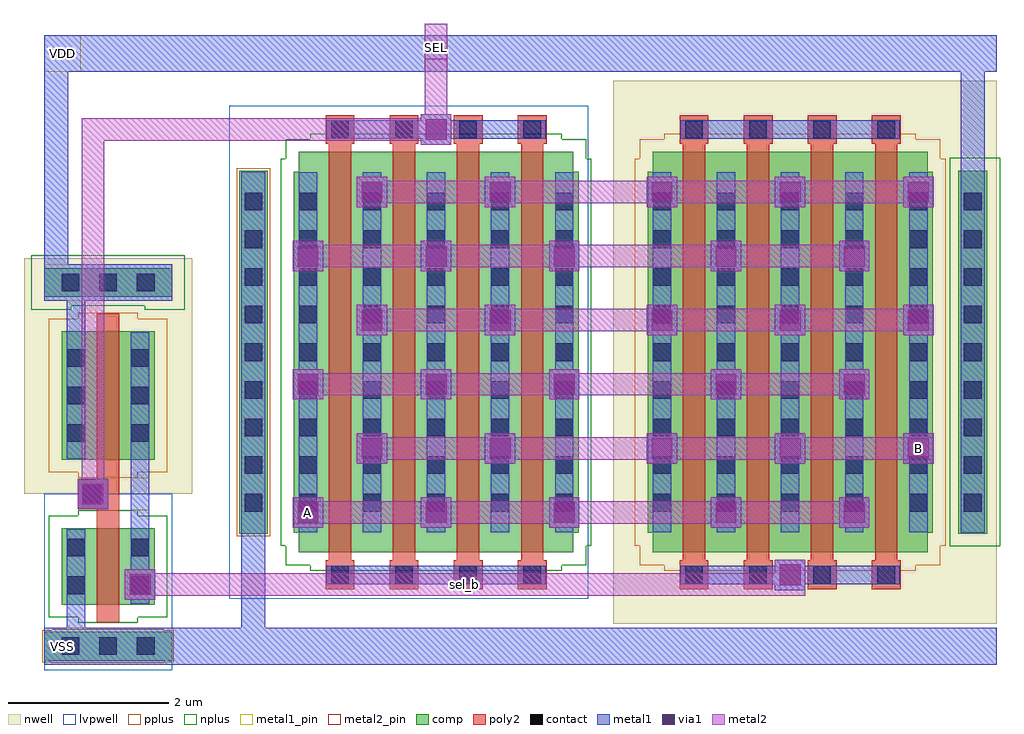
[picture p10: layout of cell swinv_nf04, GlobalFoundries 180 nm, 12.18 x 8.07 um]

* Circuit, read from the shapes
.subckt swinv_nf04 A B SEL VDD VSS sel_b
XM1 sel_b SEL VSS VSS nfet_03v3 w=0.95u l=0.28u
XM2 B SEL A VSS nfet_03v3 w=5u l=0.28u m=4
XM3 sel_b SEL VDD VDD pfet_03v3 w=1.6u l=0.28u
XM4 A sel_b B VDD pfet_03v3 w=5u l=0.28u m=4
.ends

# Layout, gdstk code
import gdstk
lib = gdstk.Library(unit=1e-6, precision=1e-09)
def R(c, l, rs):  # rectangles x0, y0, x1, y1
    for r in rs: c.add(gdstk.rectangle(r[:2], r[2:], *l))
def A(c, l, x, y, w, h, nx, ny, dx, dy):  # array of equal rectangles
    R(c, l, [(x+i*dx, y+j*dy, x+i*dx+w, y+j*dy+h) for i in range(nx) for j in range(ny)])
nwell = (21, 0)
comp = (22, 0)
poly2 = (30, 0)
pplus = (31, 0)
nplus = (32, 0)
contact = (33, 0)
metal1 = (34, 0)
metal1_pin = (34, 10)
via1 = (35, 0)
metal2 = (36, 0)
metal2_pin = (36, 10)
lvpwell = (204, 0)

logic_inverter_1x = lib.new_cell('logic_inverter_1x')
R(logic_inverter_1x, nwell, [(-0.25,2.13,1.85,5.07)])
R(logic_inverter_1x, comp, [(0,0.05,1.6,0.41), (0.22,0.75,1.38,1.7), (0.22,2.56,1.38,4.16), (0,4.59,1.6,4.95)])
R(logic_inverter_1x, poly2, [(0.66,0.53,0.94,1.95), (0.42,1.95,0.94,2.31), (0.66,2.31,0.94,4.38)])
R(logic_inverter_1x, pplus, [(0.105,0.02,1.495,0.03), (-0.02,0.03,1.62,0.43), (0.105,0.43,1.495,0.44), (0.43,2.33,1.17,2.4), (0.06,2.4,1.54,4.32), (0.43,4.32,1.17,4.39)])
R(logic_inverter_1x, nplus, [(0.43,0.52,1.17,0.59), (0.06,0.59,1.54,1.86), (0.43,1.86,1.17,1.93), (-0.16,4.43,0.34,4.48), (1.26,4.43,1.76,4.48), (-0.16,4.48,1.76,5.11)])
A(logic_inverter_1x, contact, 0.22, 0.12, 0.22, 0.22, 3, 2, 0.47, 4.54)
A(logic_inverter_1x, contact, 0.29, 2.78, 0.22, 0.22, 1, 3, 0, 0.47)
A(logic_inverter_1x, contact, 1.09, 2.78, 0.22, 0.22, 1, 3, 0, 0.47)
R(logic_inverter_1x, contact, [(0.29,0.88,0.51,1.1), (1.09,0.88,1.31,1.1), (0.29,1.35,0.51,1.57), (1.09,1.35,1.31,1.57), (0.49,2.02,0.71,2.24)])
R(logic_inverter_1x, metal1, [(0,0,1.6,0.46), (0.285,0.46,0.515,1.69), (1.085,0.76,1.315,4.15), (0.42,1.94,0.8,2.32), (0.285,2.57,0.515,4.54), (0,4.54,1.6,5)])
R(logic_inverter_1x, metal1_pin, [(0,0,1.6,0.46), (1.085,1.93,1.315,2.33), (0.42,1.94,0.8,2.32), (0,4.54,1.6,5)])
R(logic_inverter_1x, lvpwell, [(0,-0.07,1.6,2.13)])
logic_inverter_1x.add(gdstk.Label('VSS', (0.8,0.23), layer=34, texttype=10))
logic_inverter_1x.add(gdstk.Label('VDD', (0.8,4.77), layer=34, texttype=10))
logic_inverter_1x.add(gdstk.Label('OUT', (1.2,2.13), layer=34, texttype=10))
logic_inverter_1x.add(gdstk.Label('IN', (0.61,2.13), layer=34, texttype=10))

nfet_03v3_smxl9c = lib.new_cell('nfet_03v3_SMXL9C')
R(nfet_03v3_smxl9c, comp, [(-1.715,-2.5,1.715,-2.255), (-1.78,-2.255,1.78,2.255), (-1.715,2.255,1.715,2.5)])
A(nfet_03v3_smxl9c, poly2, -1.38, -2.96, 0.36, 0.36, 4, 2, 0.8, 5.56)
A(nfet_03v3_smxl9c, poly2, -1.34, -2.6, 0.28, 5.2, 4, 1, 0.8, 0)
R(nfet_03v3_smxl9c, nplus, [(-1.57,-2.73,1.57,-2.66), (-1.875,-2.66,1.875,-2.415), (-1.94,-2.415,1.94,2.415), (-1.875,2.415,1.875,2.66), (-1.57,2.66,1.57,2.73)])
A(nfet_03v3_smxl9c, contact, -1.31, -2.89, 0.22, 0.22, 4, 2, 0.8, 5.56)
A(nfet_03v3_smxl9c, contact, -1.71, -1.99, 0.22, 0.22, 5, 9, 0.8, 0.47)
A(nfet_03v3_smxl9c, metal1, -1.37, -2.895, 0.34, 0.23, 4, 2, 0.8, 5.56)
A(nfet_03v3_smxl9c, metal1, -1.715, -2.245, 0.23, 4.49, 5, 1, 0.8, 0)
R(nfet_03v3_smxl9c, lvpwell, [(-1.9,-3.08,1.9,3.08)])

pfet_03v3_eeer62 = lib.new_cell('pfet_03v3_EEER62')
R(pfet_03v3_eeer62, nwell, [(-2.21,-3.39,2.21,3.39)])
R(pfet_03v3_eeer62, comp, [(-1.715,-2.5,1.715,-2.255), (-1.78,-2.255,1.78,2.255), (-1.715,2.255,1.715,2.5)])
A(pfet_03v3_eeer62, poly2, -1.38, -2.96, 0.36, 0.36, 4, 2, 0.8, 5.56)
A(pfet_03v3_eeer62, poly2, -1.34, -2.6, 0.28, 5.2, 4, 1, 0.8, 0)
R(pfet_03v3_eeer62, pplus, [(-1.57,-2.73,1.57,-2.66), (-1.875,-2.66,1.875,-2.415), (-1.94,-2.415,1.94,2.415), (-1.875,2.415,1.875,2.66), (-1.57,2.66,1.57,2.73)])
A(pfet_03v3_eeer62, contact, -1.31, -2.89, 0.22, 0.22, 4, 2, 0.8, 5.56)
A(pfet_03v3_eeer62, contact, -1.71, -1.99, 0.22, 0.22, 5, 9, 0.8, 0.47)
A(pfet_03v3_eeer62, metal1, -1.37, -2.895, 0.34, 0.23, 4, 2, 0.8, 5.56)
A(pfet_03v3_eeer62, metal1, -1.715, -2.245, 0.23, 4.49, 5, 1, 0.8, 0)

switch_tg_analog_nf04 = lib.new_cell('switch_tg_analog_nf04')
R(switch_tg_analog_nf04, nwell, [(4.905,-3.39,9.695,3.39)])
R(switch_tg_analog_nf04, comp, [(0.235,-2.265,0.595,2.265), (9.215,-2.265,9.575,2.265)])
R(switch_tg_analog_nf04, pplus, [(0.205,-2.295,0.625,2.295)])
R(switch_tg_analog_nf04, nplus, [(9.105,-2.425,9.735,2.425)])
A(switch_tg_analog_nf04, contact, 0.305, -1.99, 0.22, 0.22, 1, 9, 0, 0.47)
A(switch_tg_analog_nf04, contact, 9.285, -1.99, 0.22, 0.22, 1, 9, 0, 0.47)
A(switch_tg_analog_nf04, metal1, 0.905, -2.19, 0.38, 0.38, 3, 3, 1.6, 1.6)
A(switch_tg_analog_nf04, metal1, 6.125, -2.19, 0.38, 0.38, 1, 3, 0, 1.6)
A(switch_tg_analog_nf04, metal1, 7.725, -2.19, 0.38, 0.38, 1, 3, 0, 1.6)
A(switch_tg_analog_nf04, metal1, 1.705, -1.39, 0.38, 0.38, 1, 3, 0, 1.6)
A(switch_tg_analog_nf04, metal1, 3.305, -1.39, 0.38, 0.38, 1, 3, 0, 1.6)
A(switch_tg_analog_nf04, metal1, 5.325, -1.39, 0.38, 0.38, 3, 3, 1.6, 1.6)
R(switch_tg_analog_nf04, metal1, [(1.325,-2.895,4.065,-2.665), (5.745,-2.895,8.485,-2.665), (0.265,-2.255,0.565,2.255), (9.245,-2.255,9.545,2.255), (1.325,2.665,4.065,2.895), (5.745,2.665,8.485,2.895)])
R(switch_tg_analog_nf04, metal1_pin, [(0.265,-0.5,0.565,0.5), (9.245,-0.5,9.545,0.5), (1.325,2.665,4.065,2.895), (5.745,2.665,8.485,2.895)])
A(switch_tg_analog_nf04, via1, 0.965, -2.13, 0.26, 0.26, 3, 3, 1.6, 1.6)
A(switch_tg_analog_nf04, via1, 6.185, -2.13, 0.26, 0.26, 1, 3, 0, 1.6)
A(switch_tg_analog_nf04, via1, 7.785, -2.13, 0.26, 0.26, 1, 3, 0, 1.6)
A(switch_tg_analog_nf04, via1, 1.765, -1.33, 0.26, 0.26, 1, 3, 0, 1.6)
A(switch_tg_analog_nf04, via1, 3.365, -1.33, 0.26, 0.26, 1, 3, 0, 1.6)
A(switch_tg_analog_nf04, via1, 5.385, -1.33, 0.26, 0.26, 3, 3, 1.6, 1.6)
A(switch_tg_analog_nf04, metal2, 0.905, -2.19, 0.38, 0.05, 3, 2, 1.6, 0.33)
A(switch_tg_analog_nf04, metal2, 0.905, -2.14, 7.2, 0.28, 1, 3, 0, 1.6)
A(switch_tg_analog_nf04, metal2, 5.325, -1.39, 0.38, 0.05, 3, 2, 1.6, 0.33)
A(switch_tg_analog_nf04, metal2, 1.705, -1.34, 7.2, 0.28, 1, 3, 0, 1.6)
A(switch_tg_analog_nf04, metal2, 0.905, -0.59, 0.38, 0.05, 3, 2, 1.6, 0.33)
A(switch_tg_analog_nf04, metal2, 5.325, 0.21, 0.38, 0.05, 3, 2, 1.6, 0.33)
A(switch_tg_analog_nf04, metal2, 0.905, 1.01, 0.38, 0.05, 3, 2, 1.6, 0.33)
A(switch_tg_analog_nf04, metal2, 5.325, 1.81, 0.38, 0.05, 3, 2, 1.6, 0.33)
R(switch_tg_analog_nf04, metal2, [(6.125,-2.19,6.505,-2.14), (7.725,-2.19,8.105,-2.14), (6.125,-1.86,6.505,-1.81), (7.725,-1.86,8.105,-1.81), (1.705,-1.39,2.085,-1.34), (3.305,-1.39,3.685,-1.34), (1.705,-1.06,2.085,-1.01), (3.305,-1.06,3.685,-1.01), (6.125,-0.59,6.505,-0.54), (7.725,-0.59,8.105,-0.54), (6.125,-0.26,6.505,-0.21), (7.725,-0.26,8.105,-0.21), (1.705,0.21,2.085,0.26), (3.305,0.21,3.685,0.26), (1.705,0.54,2.085,0.59), (3.305,0.54,3.685,0.59), (6.125,1.01,6.505,1.06), (7.725,1.01,8.105,1.06), (6.125,1.34,6.505,1.39), (7.725,1.34,8.105,1.39), (1.705,1.81,2.085,1.86), (3.305,1.81,3.685,1.86), (1.705,2.14,2.085,2.19), (3.305,2.14,3.685,2.19)])
R(switch_tg_analog_nf04, metal2_pin, [(0.905,-2.14,1.285,-1.86), (8.525,-1.34,8.905,-1.06)])
R(switch_tg_analog_nf04, lvpwell, [(0.115,-3.08,4.595,3.08)])
switch_tg_analog_nf04.add(gdstk.Reference(nfet_03v3_smxl9c, (2.695,0)))
switch_tg_analog_nf04.add(gdstk.Reference(pfet_03v3_eeer62, (7.115,0)))
switch_tg_analog_nf04.add(gdstk.Label('VDD', (9.395,0), layer=34, texttype=10))
switch_tg_analog_nf04.add(gdstk.Label('GB', (7.115,2.78), layer=34, texttype=10))
switch_tg_analog_nf04.add(gdstk.Label('VSS', (0.415,0), layer=34, texttype=10))
switch_tg_analog_nf04.add(gdstk.Label('G', (2.695,2.78), layer=34, texttype=10))
switch_tg_analog_nf04.add(gdstk.Label('B', (8.715,-1.2), layer=36, texttype=10))
switch_tg_analog_nf04.add(gdstk.Label('A', (1.095,-2), layer=36, texttype=10))

swinv_nf04 = lib.new_cell('swinv_nf04')
R(swinv_nf04, metal1, [(0,0,11.895,0.46), (2.465,0.46,2.765,1.9), (1.01,0.81,1.39,1.19), (9.125,0.93,9.505,1.31), (0.42,1.94,0.8,2.32), (0,4.54,0.3,7.4), (11.445,5.9,11.745,7.4), (4.705,6.49,5.085,6.87), (0,7.4,11.895,7.86)])
R(swinv_nf04, metal1_pin, [(0,0,0.46,0.46), (0,7.4,0.46,7.86)])
R(swinv_nf04, via1, [(1.07,0.87,1.33,1.13), (9.185,0.99,9.445,1.25), (0.48,2,0.74,2.26), (4.765,6.55,5.025,6.81)])
R(swinv_nf04, metal2, [(1.01,0.81,1.39,0.86), (1.01,0.86,9.505,1.14), (1.01,1.14,1.39,1.19), (9.125,1.14,9.505,1.31), (3.105,1.76,3.485,2.04), (0.42,1.94,0.8,2.32), (0.47,2.32,0.75,6.54), (10.725,2.56,11.105,2.84), (4.705,6.49,5.085,6.54), (0.47,6.54,5.085,6.82), (4.705,6.82,5.085,6.87), (4.755,6.87,5.035,8)])
R(swinv_nf04, metal2_pin, [(3.105,1.76,3.485,2.04), (10.725,2.56,11.105,2.84), (4.755,7.56,5.035,7.86)])
swinv_nf04.add(gdstk.Reference(logic_inverter_1x, (0,0)))
swinv_nf04.add(gdstk.Reference(switch_tg_analog_nf04, (2.2,3.9)))
swinv_nf04.add(gdstk.Label('VDD', (0.23,7.63), layer=34, texttype=10))
swinv_nf04.add(gdstk.Label('VSS', (0.23,0.23), layer=34, texttype=10))
swinv_nf04.add(gdstk.Label('sel_b', (5.255,1), layer=36, texttype=0))
swinv_nf04.add(gdstk.Label('B', (10.915,2.7), layer=36, texttype=10))
swinv_nf04.add(gdstk.Label('A', (3.295,1.9), layer=36, texttype=10))
swinv_nf04.add(gdstk.Label('SEL', (4.895,7.71), layer=36, texttype=10))

lib.write_gds('swinv_nf04.gds')
